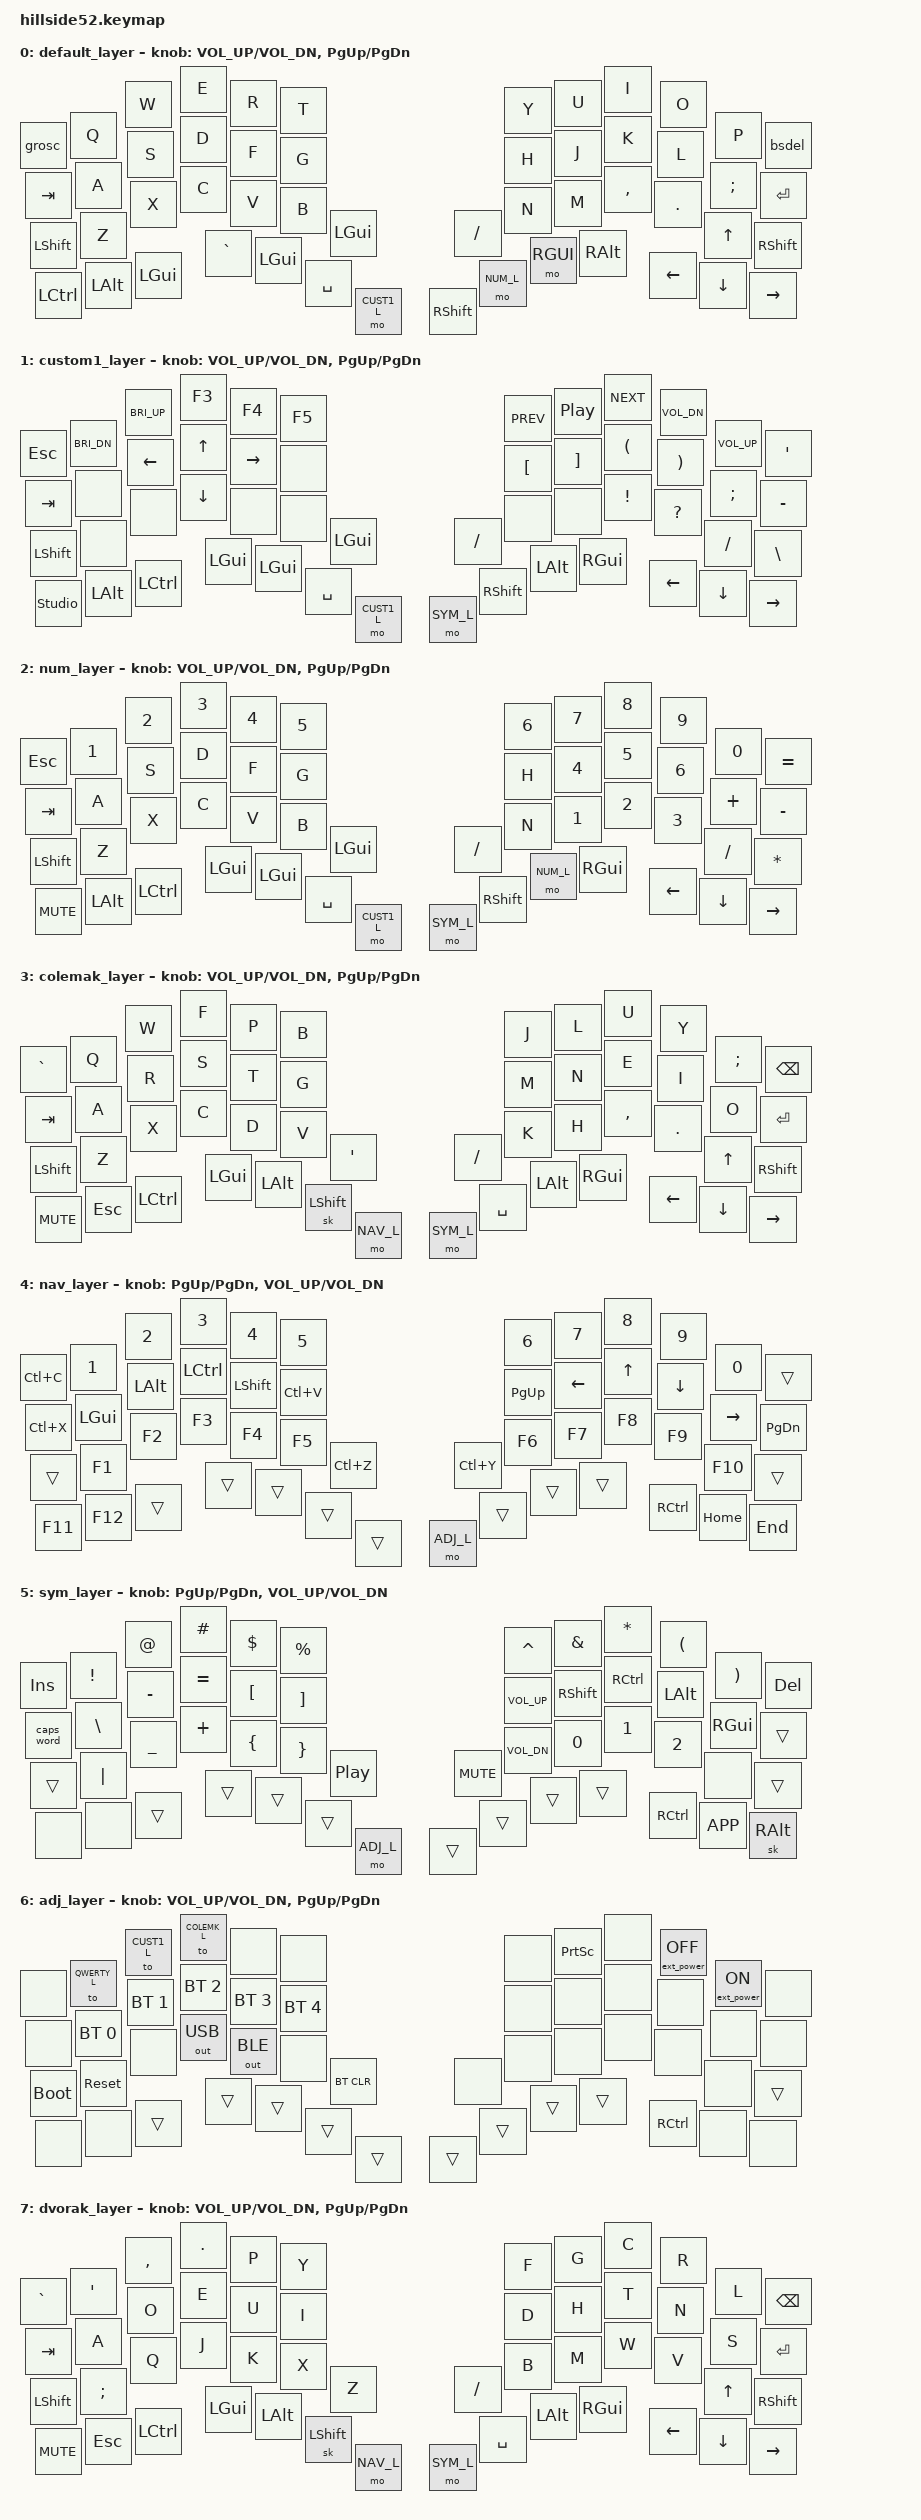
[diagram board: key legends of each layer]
/*
 * Copyright (c) 2021-2022 The ZMK Contributors
 *
 * SPDX-License-Identifier: MIT
 */

#include <behaviors.dtsi>
#include <dt-bindings/zmk/bt.h>
#include <dt-bindings/zmk/ext_power.h>
#include <dt-bindings/zmk/keys.h>
#include <dt-bindings/zmk/outputs.h>

#include "hs_behaviors.dtsi"

#define QWERTY_L 0
#define CUST1_L  1
#define NUM_L    2
#define COLEMK_L 3
#define NAV_L    4
#define SYM_L    5
#define ADJ_L    6
#define DVORAK_L 7

#define Undo   LC(Z)
#define Cut    LC(X)
#define Copy   LC(C)
#define Paste  LC(V)
#define Redo   LC(Y)


/ {
        keymap {
                compatible = "zmk,keymap";

                default_layer {
/* QWERTY
 * -------------------------------------------------------------------------------------------------------------------------------------
 * | G-ESC |   Q   |   W   |   E   |   R   |   T   |-----------------------------------|   Y   |   U   |   I   |   O   |   P   | BSDEL |
 * | TAB   |   A   |   S   |   D   |   F   |   G   |-----------------------------------|   H   |   J   |   K   |   L   |   ;   | ENTER |
 * | SHIFT |   Z   |   X   |   C   |   V   |   B   |  GUI  |-------------------|   /   |   N   |   M   |   ,   |   .   |   Up  | SHIFT |
 * | LCTRL |  LALT |  LGUI |-------|   `   |  LGUI | SPACE | CUST1 |---| SHIFT | NUM_L |  GUI  |  ALT  |-------| Left  | Down  | Right |
 */
                        bindings = <
&grosc        &kp  Q        &kp  W        &kp  E        &kp  R        &kp  T                                                                         &kp  Y        &kp  U        &kp  I        &kp  O        &kp  P        &bsdel
&kp  TAB      &kp  A        &kp  S        &kp  D        &kp  F        &kp  G                                                                         &kp  H        &kp  J        &kp  K        &kp  L        &kp  SEMI     &kp  ENTER
&kp  LSHFT    &kp  Z        &kp  X        &kp  C        &kp  V        &kp  B        &kp  LGUI                                        &kp  SLASH      &kp  N        &kp  M        &kp  COMMA    &kp  DOT      &kp  UP       &kp  RSHIFT
&kp  LCTRL    &kp  LALT     &kp  LGUI                   &kp  GRAVE    &kp  LGUI     &kp  SPACE    &mo  CUST1_L         &kp  RSHIFT   &mo  NUM_L      &mo  RGUI     &kp  RALT                   &kp  LEFT     &kp  DOWN     &kp  RIGHT
                        >;
			
                        sensor-bindings = <&inc_dec_kp C_VOL_UP C_VOL_DN &inc_dec_kp PG_UP PG_DN>;
                };

                custom1_layer {
/* CUSTOM 1
 * -------------------------------------------------------------------------------------------------------------------------------------
 * | ESC   |  BRI- |  BRI+ |  F3   |  F4   |  F5   |-----------------------------------|  PREV |  PP   | NEXT  | VOL-  | VOL+  |   '   |
 * | TAB   |       | LEFT  |  UP   | RIGHT |       |-----------------------------------|   [   |   ]   |   (   |   )   |   ;   |   -   |
 * | SHIFT |       |       |  DOWN |       |       |  CMD  |-------------------|   /   |       |       |   !   |   ?   |   /   |   \   |
 * |STUDIO | L ALT |  CTRL |-------|  CMD  |  CMD  | SPACE | CUST1 |---|  Sym  | SHIFT |  ALT  |  GUI  |-------| Left  | Down  | Right |
 */
                        bindings = <
&kp  ESC     &kp  C_BRI_DN &kp  C_BRI_UP &kp  F3       &kp  F4       &kp  F5                                                                        &kp  C_PREV   &kp  C_PP     &kp  C_NEXT   &kp  C_VOL_DN &kp C_VOL_UP  &kp  SQT
&kp  TAB     &none         &kp  LEFT     &kp  UP       &kp  RIGHT    &none                                                                          &kp  LBKT     &kp  RBKT     &kp  LPAR     &kp  RPAR     &kp  SEMI     &kp  MINUS
&kp  LSHFT   &none         &none         &kp  DOWN     &none         &none         &kp  LGUI                                        &kp  SLASH      &none         &none         &kp  EXCL     &kp  QMARK    &kp  SLASH    &kp  BSLH
&studio_unlock  &kp  LALT  &kp  LCTRL                  &kp  LGUI     &kp  LGUI     &kp  SPACE    &mo  CUST1_L         &mo  SYM_L    &kp  RSHFT      &kp  LALT     &kp  RGUI                &kp  LEFT     &kp  DOWN     &kp  RIGHT
                        >;
			
                        sensor-bindings = <&inc_dec_kp C_VOL_UP C_VOL_DN &inc_dec_kp PG_UP PG_DN>;
                };
		
                num_layer {
/* NUMBERS
 * -------------------------------------------------------------------------------------------------------------------------------------
 * | ESC   |   1   |   2   |   3   |   4   |   5   |-----------------------------------|   6   |   7   |   8   |   9   |   0   |   =   |
 * | TAB   |   A   | LEFT  |  UP   | RIGHT |   G   |-----------------------------------|   H   |   4   |   5   |   6   |   +   |   -   |
 * | SHIFT |   Z   |   X   |  DOWN |   V   |   B   |  CMD  |-------------------|   /   |   N   |   1   |   2   |   3   |   /   |   *   |
 * | Mute  | L ALT |  CTRL |-------|  CMD  |  CMD  | SPACE | CUST1 |---|  Sym  | SHIFT |  ALT  |  GUI  |-------| Left  | Down  | Right |
 */
                        bindings = <
&kp  ESC      &kp  N1       &kp  N2       &kp  N3       &kp  N4       &kp  N5                                                                        &kp  N6       &kp  N7       &kp  N8       &kp  N9       &kp  N0       &kp  EQUAL
&kp  TAB      &kp  A        &kp  S        &kp  D        &kp  F        &kp  G                                                                         &kp  H        &kp  N4       &kp  N5       &kp  N6       &kp  PLUS     &kp  MINUS
&kp  LSHFT    &kp  Z        &kp  X        &kp  C        &kp  V        &kp  B        &kp  LGUI                                        &kp  SLASH      &kp  N        &kp  N1       &kp  N2       &kp  N3       &kp  SLASH    &kp  ASTRK
&kp  C_MUTE   &kp  LALT     &kp  LCTRL                  &kp  LGUI     &kp  LGUI     &kp  SPACE    &mo  CUST1_L         &mo  SYM_L    &kp  RSHFT      &mo  NUM_L    &kp  RGUI                   &kp  LEFT     &kp  DOWN     &kp  RIGHT
                        >;
			
                        sensor-bindings = <&inc_dec_kp C_VOL_UP C_VOL_DN &inc_dec_kp PG_UP PG_DN>;
                };

                colemak_layer {
/* COLEMAK-DH
 * -------------------------------------------------------------------------------------------------------------------------------------
 * | `     |   Q   |   W   |   F   |   P   |   B   |-----------------------------------|   J   |   L   |   U   |   Y   |   ;   | BKSPC |
 * | TAB   |   A   |   R   |   S   |   T   |   G   |-----------------------------------|   M   |   N   |   E   |   I   |   O   | ENTER |
 * | SHIFT |   Z   |   X   |   C   |   D   |   V   |   '   |-------------------|   /   |   K   |   H   |   ,   |   .   |  Up   | SHIFT |
 * | Mute  |  ESC  | CTRL  |-------|  GUI  |  ALT  |SK SHFT|  Nav  |---|  Sym  | SPACE |  ALT  |  GUI  |-------| Left  | Down  | Right |
 */
                        bindings = <
&kp  GRAVE    &kp  Q        &kp  W        &kp  F        &kp  P        &kp  B                                                                         &kp  J        &kp  L        &kp  U        &kp  Y        &kp  SEMI     &kp  BSPC
&kp  TAB      &kp  A        &kp  R        &kp  S        &kp  T        &kp  G                                                                         &kp  M        &kp  N        &kp  E        &kp  I        &kp  O        &kp  ENTER
&kp  LSHFT    &kp  Z        &kp  X        &kp  C        &kp  D        &kp  V        &kp  SQT                                           &kp  SLASH    &kp  K        &kp  H        &kp  COMMA    &kp  DOT      &kp  UP       &kp  RSHFT
&kp  C_MUTE   &kp  ESC      &kp  LCTRL                  &kp  LGUI     &kp  LALT     &sk  LSHIFT     &mo  NAV_L           &mo  SYM_L    &kp  SPACE    &kp  LALT     &kp  RGUI                   &kp  LEFT     &kp  DOWN     &kp  RIGHT
                        >;
			
                        sensor-bindings = <&inc_dec_kp C_VOL_UP C_VOL_DN &inc_dec_kp PG_UP PG_DN>;
                };

                nav_layer {
/* NAV
 * -------------------------------------------------------------------------------------------------------------------------------------
 * | Copy  |   1   |   2   |   3   |   4   |   5   |-----------------------------------|   6   |   7   |   8   |   9   |   0   | BSPC  |
 * | Cut   |  GUI  |  Alt  | Ctrl  | Shift | Paste |-----------------------------------| PG UP |  Left |  Up   |  Down | Right | PG DN |
 * | Shift |  F1   |  F2   |  F3   |  F4   |  F5   |  UnDo |-------------------| ReDo  |  F6   |  F7   |  F8   |  F9   |  F10  | Shift |
 * | F11   |  F12  |       |-------|       |       |       |       |---| ADJ_L |       |       |       |-------| CTRL  | HOME  |  END  |
 */
                        bindings = <
&kp  Copy     &kp  N1       &kp  N2       &kp  N3       &kp  N4       &kp  N5                                                                        &kp   N6      &kp  N7      &kp   N8      &kp   N9      &kp  N0       &trans
&kp  Cut      &kp  LGUI     &kp  LALT     &kp  LCTRL    &kp  LSHFT    &kp  Paste                                                                     &kp   PG_UP   &kp  LEFT    &kp   UP      &kp   DOWN    &kp  RIGHT    &kp PG_DN
&trans        &kp  F1       &kp  F2       &kp  F3       &kp  F4       &kp  F5       &kp Undo                                           &kp  Redo     &kp   F6      &kp  F7      &kp   F8      &kp   F9      &kp  F10      &trans
&kp  F11      &kp  F12      &trans                      &trans        &trans        &trans        &trans                 &mo ADJ_L     &trans        &trans        &trans                     &kp  RCTRL    &kp  HOME     &kp  END
                        >;
			
                        sensor-bindings = <&inc_dec_kp PG_UP PG_DN &inc_dec_kp C_VOL_UP C_VOL_DN>;
                };

                sym_layer {
/* SYM
 * -------------------------------------------------------------------------------------------------------------------------------------
 * | INS   |   !   |   @   |   #   |   $   |   %   |-----------------------------------|   ^   |   &   |   *   |   (   |   )   | DELETE|
 * | CAPS  |   \   |   -   |   =   |   [   |   ]   |-----------------------------------| Vol+  | Shift | Ctrl  | Alt   | Gui   | ENTER |
 * | Shift |   |   |   _   |   +   |   {   |   }   | Play  |-------------------| Mute  | Vol-  |  N0   |  N1   |  N2   |       | SHIFT |
 * |       |       |       |-------|       |       |       |  ADJ_L |---|      |       |       |       |-------| CTRL  | MENU  |SkAltGr|
 */
                        bindings = <
&kp  INS      &kp  EXCL     &kp  AT       &kp  HASH     &kp  DOLLAR   &kp  PERCENT                                                                   &kp  CARET    &kp  AMPS     &kp  ASTRK    &kp  LPAR     &kp  RPAR     &kp  DEL
&caps_word    &kp  BSLH     &kp  MINUS    &kp  EQUAL    &kp  LBKT     &kp  RBKT                                                                      &kp C_VOL_UP  &kp  RSHFT    &kp  RCTRL    &kp  LALT     &kp  RGUI     &trans
&trans        &kp  PIPE     &kp  UNDER    &kp  PLUS     &kp  LBRC     &kp  RBRC     &kp  C_PP                                          &kp C_MUTE    &kp C_VOL_DN  &kp  N0       &kp  N1       &kp  N2       &none         &trans
&none         &none         &trans                      &trans        &trans        &trans        &mo  ADJ_L               &trans      &trans        &trans        &trans                      &kp  RCTRL    &kp  K_APP    &sk  RALT
                        >;
			
                        sensor-bindings = <&inc_dec_kp PG_UP PG_DN &inc_dec_kp C_VOL_UP C_VOL_DN>;
                };
		
                adj_layer {
/* ADJUST
 * -------------------------------------------------------------------------------------------------------------------------------------
 * |       | QWERTY| DVORAK| COLEMK|       |       |-----------------------------------|       |Prt Scr|       | EP_OFF| EP_ON |       |
 * |       | BT 0  | BT 1  | BT 2  | BT 3  | BT 4  |-----------------------------------|       |       |       |       |       |       |
 * | BOOTL | RESET |       |OUT_USB|OUT_BLE|       |BT CLR |-------------------|       |       |       |       |       |       | SHIFT |
 * ----------------|       |-------|       |       |       |       |---|       |       |       |       |-------| CTRL  |----------------
 */
                        bindings = <
&none         &to  QWERTY_L &to  CUST1_L  &to  COLEMK_L &none         &none                                                                             &none             &kp PRINTSCREEN    &none         &ext_power EP_OFF  &ext_power EP_ON &none
&none         &bt  BT_SEL 0 &bt  BT_SEL 1 &bt  BT_SEL 2 &bt  BT_SEL 3 &bt  BT_SEL 4                                                                     &none             &none              &none            &none           &none            &none
&bootloader   &sys_reset    &none         &out OUT_USB  &out OUT_BLE  &none         &bt BT_CLR                                         &none            &none             &none              &none            &none           &none            &trans
&none         &none         &trans                      &trans        &trans        &trans        &trans                 &trans        &trans           &trans            &trans                              &kp  RCTRL      &none            &none
                        >;
			
                        sensor-bindings = <&inc_dec_kp C_VOL_UP C_VOL_DN &inc_dec_kp PG_UP PG_DN>;
                };

                dvorak_layer {
/* DVORAK
* -------------------------------------------------------------------------------------------------------------------------------------
 * | `     |   '   |   ,   |   .   |   P   |   Y   |-----------------------------------|   F   |   G   |   C   |   R   |   L   | BKSPC |
 * | TAB   |   A   |   O   |   E   |   U   |   I   |-----------------------------------|   D   |   H   |   T   |   N   |   S   | ENTER |
 * | SHIFT |   ;   |   Q   |   J   |   K   |   X   |   Z   |-------------------|   /   |   B   |   M   |   W   |   V   |  Up   | SHIFT |
 * | Mute  |  ESC  | CTRL  |-------|  GUI  |  ALT  |SK SHFT|  Nav  |---|  Sym  | SPACE |  ALT  |  GUI  |-------| Left  | Down  | Right |
 */
                        bindings = <
&kp  GRAVE    &kp  SQT      &kp  COMMA    &kp  DOT      &kp  P        &kp  Y                                                                         &kp  F        &kp  G        &kp  C        &kp  R        &kp  L        &kp  BSPC
&kp  TAB      &kp  A        &kp  O        &kp  E        &kp  U        &kp  I                                                                         &kp  D        &kp  H        &kp  T        &kp  N        &kp  S        &kp  ENTER
&kp  LSHFT    &kp  SEMI     &kp  Q        &kp  J        &kp  K        &kp  X        &kp  Z                                             &kp  SLASH    &kp  B        &kp  M        &kp  W        &kp  V        &kp  UP       &kp  RSHFT
&kp  C_MUTE   &kp  ESC      &kp  LCTRL                  &kp  LGUI     &kp  LALT     &sk  LSHIFT    &mo  NAV_L            &mo  SYM_L    &kp  SPACE    &kp  LALT     &kp  RGUI                   &kp  LEFT     &kp  DOWN     &kp  RIGHT
                        >;
			
                        sensor-bindings = <&inc_dec_kp C_VOL_UP C_VOL_DN &inc_dec_kp PG_UP PG_DN>;
                };
                
        };
};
